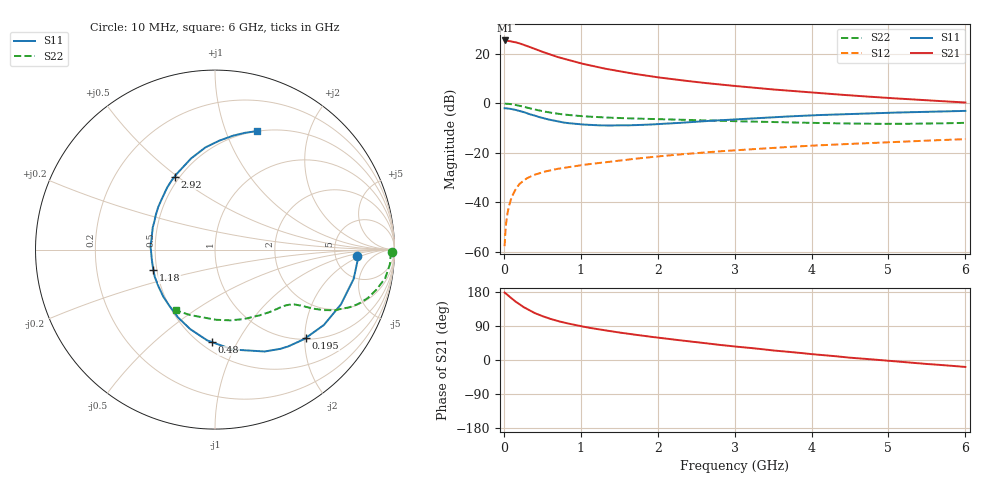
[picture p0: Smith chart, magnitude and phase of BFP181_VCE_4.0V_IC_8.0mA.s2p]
! Infineon Technologies  Discrete & RF Semiconductors
! BFP181
! VCE = 4.0 V,  IC =  8.0 mA
! Common Emitter S-Parameters:  Jan 2016
# GHz  S  MA  R  50
!  f  S11  S21  S12  S22
! GHz  MAG  ANG  MAG  ANG  MAG  ANG  MAG  ANG
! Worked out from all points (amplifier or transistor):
!   210 points, 10 MHz to 6 GHz, reference 50 ohm
!   highest |S21| = 25.4 dB at 20 MHz (marker M1)
!   |S21| within 3 dB of that: start of sweep to 367.6 MHz
!   unconditionally stable (mu >= 1): 1.349 GHz to end of sweep
!   at 185 MHz: K = 0.23, MSG = 28.9 dB, |S12| = -33.4 dB
!   at 1.52 GHz: K = 1.04, MAG = 16.7 dB, |S12| = -23.1 dB
!   at 6 GHz: K = 1.01, MAG = 6.7 dB, |S12| = -14.5 dB
!   S11 on the Smith chart (normalised r, x): 10 MHz: 8.39, -1.50; 195 MHz: 1.04, -2.03; 480 MHz: 0.57, -0.80; 1.18 GHz: 0.48, -0.12; 2.92 GHz: 0.47, +0.49; 6 GHz: 0.50, +1.30
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0.01  0.7931 -2.4  18.49 177.9  0.0013 82.8  0.9848 -0.8
0.02  0.7962 -4.7  18.56 176.6  0.0025 86.1  0.9785 -1.8
0.05  0.7896 -11.9  18.34 171.1  0.0063 88.4  0.9778 -4.9
0.1  0.7652 -23.5  17.72 162.8  0.0124 76.2  0.9612 -9.6
0.15  0.7378 -34.7  17.12 154.5  0.0178 73.0  0.9282 -13.8
0.195  0.7063 -44.0  16.4 148.0  0.0226 68.5  0.8972 -17.1
0.24  0.6763 -52.9  15.51 141.8  0.0261 64.7  0.8638 -20.0
0.3  0.6316 -64.0  14.43 134.7  0.0305 61.2  0.8175 -23.1
0.4  0.5654 -80.0  12.6 124.0  0.036 55.5  0.7492 -26.8
0.48  0.5163 -91.7  11.26 117.5  0.0394 52.7  0.7045 -28.6
0.6  0.464 -107.3  9.729 108.8  0.0442 49.9  0.6484 -30.7
0.7  0.4305 -118.5  8.588 102.9  0.0474 48.5  0.6145 -31.7
0.8  0.4037 -128.8  7.778 97.7  0.0499 47.7  0.5887 -32.5
1.02  0.3734 -149.0  6.305 88.6  0.0565 46.5  0.5492 -34.1
1.18  0.3614 -161.9  5.54 82.8  0.0608 45.9  0.5298 -35.3
1.56  0.3585 173.4  4.275 70.9  0.0715 45.6  0.5003 -38.6
2.02  0.3815 150.0  3.315 58.6  0.0849 44.2  0.4775 -44.0
2.92  0.4646 118.9  2.301 37.5  0.11 39.5  0.4386 -57.3
3.1  0.4818 114.0  2.167 33.9  0.1149 38.5  0.4308 -60.4
4.1  0.5781 93.8  1.609 13.8  0.1415 31.5  0.3995 -80.0
5.1  0.6489 79.7  1.252 -3.6  0.1652 24.6  0.3841 -102.2
6  0.7016 70.3  1.037 -18.3  0.1884 17.9  0.4028 -122.8
